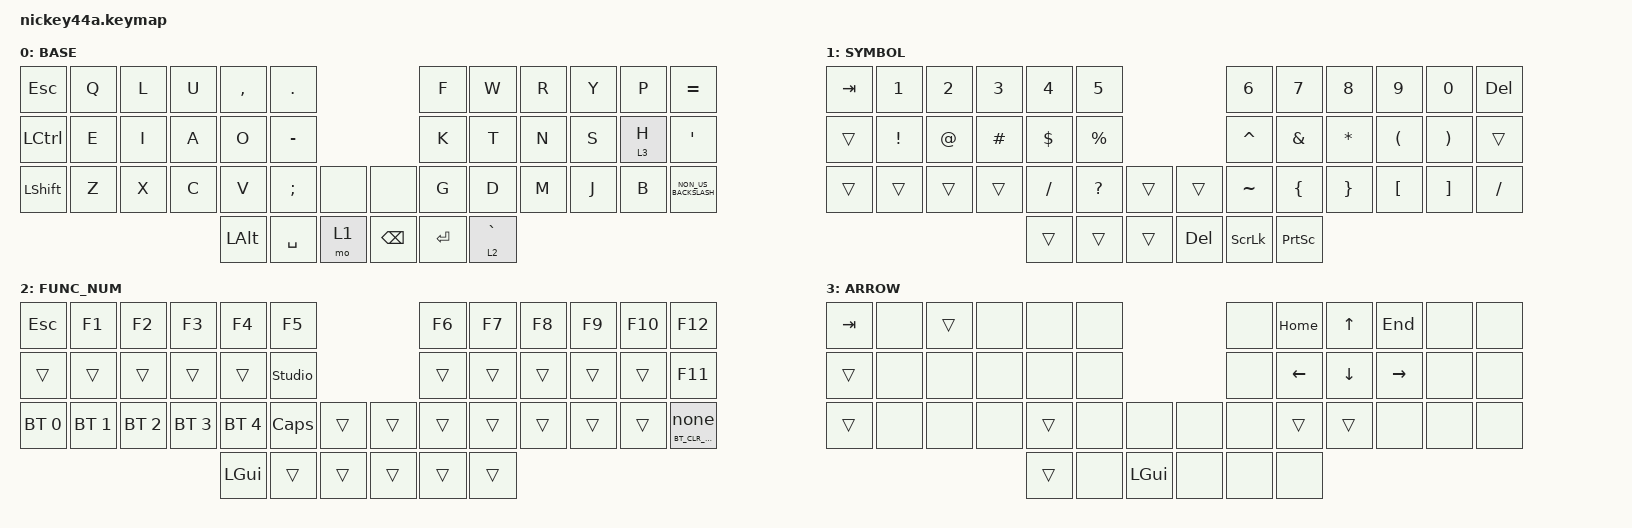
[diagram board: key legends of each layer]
#include <behaviors.dtsi>
#include <dt-bindings/zmk/bt.h>
#include <dt-bindings/zmk/keys.h>

// 大西配列。hayawo/zmk-SIDE48 (config/side48.keymap) をもとに調整。
// Nickey44A-PAD: 左右の内側キー位置に TPS43 トラックパッドを載せたため、
//   内側キー (旧 LEFT_WIN / SLASH) は &none。
// 親指キー 3 個:
//   左: Alt Space SYMBOL
//   右: BS Enter, タップ=GRAVE(半角/全角) 長押し=FUNC_NUM
// トラックパッドの動作は docs/dual-tps43.md を参照。
//   Layer 1 (SYMBOL) 中は右パッドが Snipe (移動量 2/3) になり、
//   2本指左右スワイプが進む/戻る → タブ移動に切り替わる。
// H 長押し=ARROW。
// BT_CLR は FUNC_NUM の右下角 (NUBS の位置) を 2 秒長押ししたときだけ効く
//   (bt_clr_hold)。消えるのは選択中のプロファイルのペアリングだけ。
//   全部消したいときは settings_reset を左右に書き込む。
// ZMK Studio のロック解除 (&studio_unlock) は FUNC_NUM の - の位置 (Caps の上)。
// SIDE48 の MOUSE / FUNCTION / SPARE レイヤーは省略 (ポインティングはパッド側で処理)。
//
// レイヤー: 0 BASE / 1 SYMBOL / 2 FUNC_NUM / 3 ARROW

&mt {
    flavor = "balanced";
    quick-tap-ms = <0>;
};

&lt {
    quick-tap-ms = <300>;
    flavor = "balanced";
};

/ {
    behaviors {
        // 2 秒押し続けたときだけ BT_CLR。それより早く離すと何もしない。
        bt_clr_hold: bt_clr_hold {
            compatible = "zmk,behavior-hold-tap";
            #binding-cells = <2>;
            flavor = "tap-preferred";
            tapping-term-ms = <2000>;
            bindings = <&bt>, <&none>;
        };
    };

    keymap {
        compatible = "zmk,keymap";

        layer_0 {
            display-name = "BASE";
            bindings = <
&kp ESC           &kp Q  &kp L  &kp U  &kp COMMA     &kp PERIOD                        &kp F      &kp W        &kp R  &kp Y  &kp P    &kp EQUAL
&kp LEFT_CONTROL  &kp E  &kp I  &kp A  &kp O         &kp MINUS                         &kp K      &kp T        &kp N  &kp S  &lt 3 H  &kp SQT
&kp LSHFT         &kp Z  &kp X  &kp C  &kp V         &kp SEMICOLON  &none    &none     &kp G      &kp D        &kp M  &kp J  &kp B    &kp NON_US_BACKSLASH
                                       &kp LEFT_ALT  &kp SPACE      &mo 1    &kp BSPC  &kp ENTER  &lt 2 GRAVE
            >;
        };

        layer_1 {
            display-name = "SYMBOL";
            bindings = <
&kp TAB  &kp N1    &kp N2  &kp N3    &kp N4      &kp N5                           &kp N6          &kp N7           &kp N8           &kp N9                &kp N0                 &kp DELETE
&trans   &kp EXCL  &kp AT  &kp HASH  &kp DOLLAR  &kp PRCNT                        &kp CARET       &kp AMPERSAND    &kp ASTRK        &kp LEFT_PARENTHESIS  &kp RIGHT_PARENTHESIS  &trans
&trans   &trans    &trans  &trans    &kp SLASH   &kp QUESTION  &trans    &trans   &kp TILDE       &kp LEFT_BRACE   &kp RIGHT_BRACE  &kp LEFT_BRACKET      &kp RIGHT_BRACKET      &kp SLASH
                                     &trans      &trans        &trans    &kp DEL  &kp SCROLLLOCK  &kp PRINTSCREEN
            >;
        };

        layer_2 {
            display-name = "FUNC_NUM";
            bindings = <
&kp ESCAPE    &kp F1        &kp F2        &kp F3        &kp F4        &kp F5                            &kp F6  &kp F7  &kp F8  &kp F9  &kp F10  &kp F12
&trans        &trans        &trans        &trans        &trans        &studio_unlock                    &trans  &trans  &trans  &trans  &trans   &kp F11
&bt BT_SEL 0  &bt BT_SEL 1  &bt BT_SEL 2  &bt BT_SEL 3  &bt BT_SEL 4  &kp CAPS        &trans    &trans  &trans  &trans  &trans  &trans  &trans   &bt_clr_hold BT_CLR_CMD 0
                                                        &kp LEFT_GUI  &trans          &trans    &trans  &trans  &trans
            >;
        };

        layer_3 {
            display-name = "ARROW";
            bindings = <
&kp TAB  &none  &trans  &none  &none   &none                         &none  &kp HOME        &kp UP_ARROW    &kp END          &none  &none
&trans   &none  &none   &none  &none   &none                         &none  &kp LEFT_ARROW  &kp DOWN_ARROW  &kp RIGHT_ARROW  &none  &none
&trans   &none  &none   &none  &trans  &none  &none           &none  &none  &trans          &trans          &none            &none  &none
                               &trans  &none  &kp LEFT_GUI    &none  &none  &none
            >;
        };
    };
};
